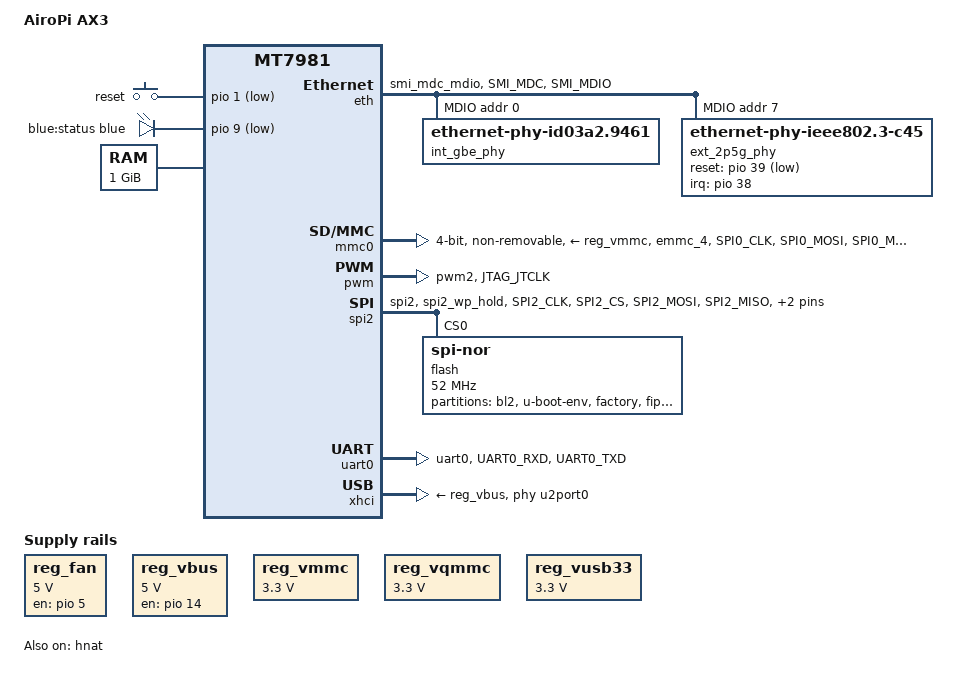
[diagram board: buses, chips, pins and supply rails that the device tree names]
// SPDX-License-Identifier: GPL-2.0-or-later OR MIT

/dts-v1/;

#include <dt-bindings/gpio/gpio.h>
#include <dt-bindings/input/input.h>
#include <dt-bindings/leds/common.h>
#include <dt-bindings/pinctrl/mt65xx.h>

#include "mt7981.dtsi"

/ {
	compatible = "airopi,ax3", "mediatek,mt7981";
	model = "AiroPi AX3";

	aliases {
		led-boot = &led_status;
		led-failsafe = &led_status;
		led-running = &led_status;
		led-upgrade = &led_status;
		serial0 = &uart0;
	};

	chosen {
		bootargs = "root=PARTLABEL=rootfs rootwait rootfstype=squashfs,f2fs";
		stdout-path = "serial0:115200n8";
	};

	gpio-keys {
		compatible = "gpio-keys";
		pinctrl-names = "default";
		pinctrl-0 = <&keys_pins>;

		button-reset {
			label = "reset";
			linux,code = <KEY_RESTART>;
			gpios = <&pio 1 GPIO_ACTIVE_LOW>;
		};
	};

	gpio-leds {
		compatible = "gpio-leds";
		pinctrl-names = "default";
		pinctrl-0 = <&leds_pins>;

		led_status: led-0 {
			color = <LED_COLOR_ID_BLUE>;
			function = LED_FUNCTION_STATUS;
			gpios = <&pio 9 GPIO_ACTIVE_LOW>;
			label = "blue:status";
		};
	};

	memory@40000000 {
		reg = <0 0x40000000 0 0x40000000>;
		device_type = "memory";
	};

	reg_fan: regulator-fan {
		compatible = "regulator-fixed";
		enable-active-high;
		gpios = <&pio 5 GPIO_ACTIVE_HIGH>;
		pinctrl-names = "default";
		pinctrl-0 = <&fan_power_pins>;
		regulator-boot-on;
		regulator-max-microvolt = <5000000>;
		regulator-min-microvolt = <5000000>;
		regulator-name = "fan_power";
	};

	/* broken regulator, wrong voltage */
	reg_vbus: regulator-vbus {
		compatible = "regulator-fixed";
		enable-active-high;
		gpios = <&pio 14 GPIO_ACTIVE_HIGH>;
		pinctrl-names = "default";
		pinctrl-0 = <&usb_vbus_pins>;
		regulator-boot-on;
		regulator-max-microvolt = <5000000>;
		regulator-min-microvolt = <5000000>;
		regulator-name = "usb_vbus";
	};

	reg_vmmc: regulator-vmmc {
		compatible = "regulator-fixed";
		regulator-always-on;
		regulator-max-microvolt = <3300000>;
		regulator-min-microvolt = <3300000>;
		regulator-name = "mmc_power";
	};

	reg_vqmmc: regulator-vqmmc {
		compatible = "regulator-fixed";
		regulator-always-on;
		regulator-max-microvolt = <3300000>;
		regulator-min-microvolt = <3300000>;
		regulator-name = "mmc_io";
	};

	reg_vusb33: regulator-vusb33 {
		compatible = "regulator-fixed";
		regulator-always-on;
		regulator-max-microvolt = <3300000>;
		regulator-min-microvolt = <3300000>;
		regulator-name = "usb_io";
	};

	reserved-memory {
		#address-cells = <2>;
		#size-cells = <2>;
		ranges;

		ramoops@42ff0000 {
			compatible = "ramoops";
			reg = <0 0x42ff0000 0 0x00010000>;
			console-size = <0x8000>;
			record-size = <0x2000>;
		};
	};
};

&eth {
	pinctrl-names = "default";
	pinctrl-0 = <&mdio_pins>;
	status = "okay";

	mac@0 {
		compatible = "mediatek,eth-mac";
		reg = <0>;
		phy-mode = "2500base-x";
		phy-handle = <&ext_2p5g_phy>;
	};

	mac@1 {
		compatible = "mediatek,eth-mac";
		reg = <1>;
		phy-mode = "gmii";
		phy-handle = <&int_gbe_phy>;
	};

	mdio: mdio-bus {
		#address-cells = <1>;
		#size-cells = <0>;

		int_gbe_phy: ethernet-phy@0 {
			compatible = "ethernet-phy-id03a2.9461";
			reg = <0>;
			nvmem-cells = <&phy_calibration>;
			nvmem-cell-names = "phy-cal-data";
			phy-mode = "gmii";
			// phy-is-integrated;
			pinctrl-names = "gbe-led";
			pinctrl-0 = <&gbe_leds_pins>;
		};

		ext_2p5g_phy: ethernet-phy@7 {
			compatible = "ethernet-phy-ieee802.3-c45";
			reg = <7>;
			interrupt-parent = <&pio>;
			interrupts = <38 IRQ_TYPE_LEVEL_LOW>;
			pinctrl-names = "default";
			pinctrl-0 = <&ephy_2p5g_pins>;
			realtek,aldps-enable;
			reset-assert-us = <20000>;
			reset-deassert-us = <100000>;
			reset-gpios = <&pio 39 GPIO_ACTIVE_LOW>;
		};

	};
};
/*
&fan {
	fan-supply = <&reg_fan>;
	interrupt-parent = <&pio>;
	interrupts = <11 IRQ_TYPE_EDGE_RISING>;
	pinctrl-names = "default";
	pinctrl-0 = <&fan_tach_pins>;
	pwms = <&pwm 2 40000 0>;
	status = "okay";
};
*/
&hnat {
	mtketh-wan = "eth0";
	mtketh-lan = "eth1";
	mtketh-max-gmac = <2>;
	ext-devices-prefix = "usb", "wwan";
	status = "okay";
};

&mmc0 {
	bus-width = <4>;
	cap-sd-highspeed;
	disable-wp;
	max-frequency = <52000000>;
	no-1-8-v;
	no-mmc;
	no-sdio;
	non-removable; /* workaround for hardware defect */
	pinctrl-names = "default", "state_uhs";
	pinctrl-0 = <&mmc_pins>;
	pinctrl-1 = <&mmc_pins>;
	vmmc-supply = <&reg_vmmc>;
	vqmmc-supply = <&reg_vqmmc>;
	status = "okay";
};

&pio {
	ephy_2p5g_pins: ephy-2p5g-pins {
		conf-int {
			input-enable;
			input-schmitt-enable;
			drive-strength = <MTK_DRIVE_2mA>;
			mediatek,pull-up-adv = <0>;
			pins = "GBE_INT";
		};

		conf-rst {
			output-enable;
			drive-strength = <MTK_DRIVE_4mA>;
			mediatek,pull-up-adv = <0>;
			pins = "GBE_RESET";
		};
	};

	fan_power_pins: fan-power-pins {
		conf {
			output-enable;
			drive-strength = <MTK_DRIVE_8mA>;
			mediatek,pull-up-adv = <0>;
			pins = "JTAG_JTDI";
		};
	};

	fan_tach_pins: fan-tach-pins {
		conf {
			input-enable;
			input-schmitt-enable;
			drive-strength = <MTK_DRIVE_2mA>;
			mediatek,pull-up-adv = <1>;
			pins = "WO_JTAG_JTMS";
		};
	};

	gbe_leds_pins: gbe-leds-pins {
		mux {
			function = "led";
			groups = "gbe_led0", "gbe_led1";
		};

		conf {
			output-enable;
			drive-strength = <MTK_DRIVE_4mA>;
			mediatek,pull-up-adv = <0>;
			pins = "JTAG_JTRST_N", "WO_JTAG_JTRST_N";
		};
	};

	keys_pins: keys-pins {
		conf {
			input-enable;
			input-schmitt-enable;
			drive-strength = <MTK_DRIVE_2mA>;
			mediatek,pull-up-adv = <0>;
			pins = "GPIO_RESET";
		};
	};

	leds_pins: leds-pins {
		conf {
			output-enable;
			drive-strength = <MTK_DRIVE_4mA>;
			mediatek,pull-up-adv = <0>;
			pins = "WO_JTAG_JTDO";
		};
	};

	mdio_pins: mdc-mdio-pins {
		mux {
			function = "eth";
			groups = "smi_mdc_mdio";
		};

		conf-clk {
			output-enable;
			drive-strength = <MTK_DRIVE_4mA>;
			mediatek,pull-up-adv = <0>;
			pins = "SMI_MDC";
		};

		conf-io {
			input-enable;
			drive-strength = <MTK_DRIVE_4mA>;
			mediatek,pull-up-adv = <0>;
			pins = "SMI_MDIO";
		};
	};

	mmc_pins: mmc-pins {
		mux {
			function = "flash";
			groups = "emmc_4";
		};

		conf-cmd-dat {
			input-enable;
			drive-strength = <MTK_DRIVE_4mA>;
			mediatek,pull-up-adv = <1>;
			pins = "SPI0_CLK", "SPI0_MOSI", "SPI0_MISO",
			       "SPI0_CS", "SPI1_MISO";
		};

		conf-clk {
			output-enable;
			drive-strength = <MTK_DRIVE_8mA>;
			mediatek,pull-down-adv = <2>;
			pins = "SPI1_CS";
		};
	};

	pwm2_pins: pwm2-pins {
		mux {
			function = "pwm";
			groups = "pwm2";
		};

		conf {
			output-enable;
			drive-strength = <MTK_DRIVE_8mA>;
			mediatek,pull-up-adv = <0>;
			pins = "JTAG_JTCLK";
		};
	};

	spi2_pins: spi2-pins {
		mux {
			function = "spi";
			groups = "spi2", "spi2_wp_hold";
		};

		conf-clk-cs {
			output-enable;
			drive-strength = <MTK_DRIVE_4mA>;
			mediatek,pull-up-adv = <0>;
			pins = "SPI2_CLK", "SPI2_CS";
		};

		conf-dat {
			input-enable;
			drive-strength = <MTK_DRIVE_4mA>;
			mediatek,pull-up-adv = <0>;
			pins = "SPI2_MOSI", "SPI2_MISO", "SPI2_HOLD", "SPI2_WP";
		};
	};

	uart0_pins: uart0-pins {
		mux {
			function = "uart";
			groups = "uart0";
		};

		conf-rx {
			input-enable;
			input-schmitt-enable;
			drive-strength = <MTK_DRIVE_2mA>;
			mediatek,pull-up-adv = <0>;
			pins = "UART0_RXD";
		};

		conf-tx {
			output-enable;
			drive-strength = <MTK_DRIVE_4mA>;
			mediatek,pull-up-adv = <0>;
			pins = "UART0_TXD";
		};
	};

	usb_vbus_pins: usb-vbus-pins {
		conf {
			output-enable;
			drive-strength = <MTK_DRIVE_8mA>;
			mediatek,pull-up-adv = <0>;
			pins = "USB_VBUS";
		};
	};

	wifi_leds_pins: wifi-leds-pins {
		mux {
			function = "led";
			groups = "wf2g_led1", "wf5g_led1";
		};

		conf {
			output-enable;
			drive-strength = <MTK_DRIVE_4mA>;
			mediatek,pull-up-adv = <0>;
			pins = "PCIE_CLK_REQ", "PCIE_WAKE_N";
		};
	};
};

&pwm {
	pinctrl-names = "default";
	pinctrl-0 = <&pwm2_pins>;
};

&spi2 {
	pinctrl-names = "default";
	pinctrl-0 = <&spi2_pins>;
	status = "okay";

	flash@0 {
		compatible = "jedec,spi-nor";
		reg = <0>;
		m25p,fast-read;
		spi-max-frequency = <52000000>;
		spi-rx-bus-width = <4>;
		spi-tx-bus-width = <4>;

		partitions {
			compatible = "fixed-partitions";
			#address-cells = <1>;
			#size-cells = <1>;

			partition@0 {
				label = "bl2";
				reg = <0x000000 0x040000>;
			};

			partition@40000 {
				label = "u-boot-env";
				reg = <0x040000 0x010000>;
			};

			partition@50000 {
				label = "factory";
				reg = <0x050000 0x0b0000>;
			};

			partition@100000 {
				label = "fip";
				reg = <0x100000 0x080000>;
			};

			partition@180000 {
				label = "firmware";
				reg = <0x180000 0x000000>;
			};
		};
	};
};

&uart0 {
	pinctrl-names = "default";
	pinctrl-0 = <&uart0_pins>;
	status = "okay";
};

&wbsys {
	pinctrl-names = "default";
	pinctrl-0 = <&wifi_leds_pins>;
};

&xhci {
	phys = <&u2port0 PHY_TYPE_USB2>,
	       <&u3port0 PHY_TYPE_USB3>;
	vbus-supply = <&reg_vbus>;
	vusb33-supply = <&reg_vusb33>;
	status = "okay";
};
